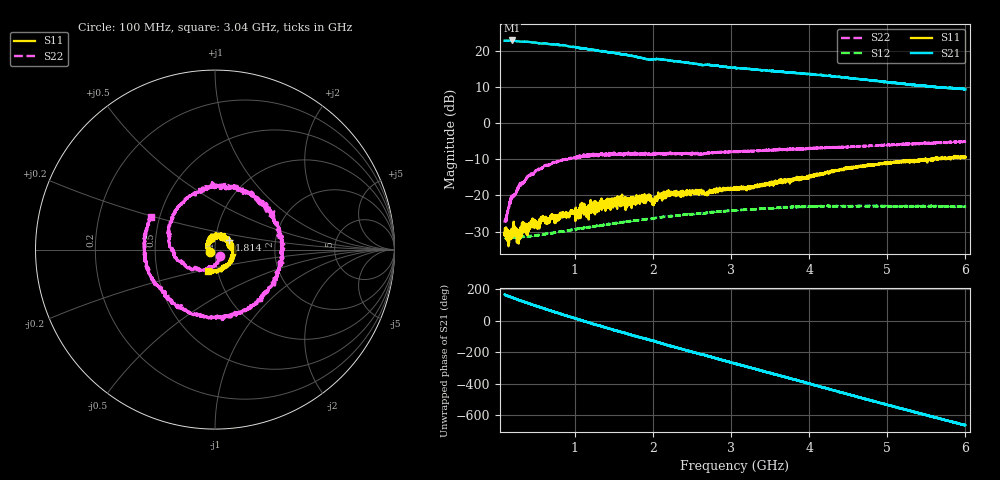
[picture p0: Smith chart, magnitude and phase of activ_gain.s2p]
#  HZ  S  DB  R  50.0
! Rohde & Schwarz ZVL6 2Ports - Version 3.32 - 1303.6509k06 SN: 102097
! Date: 2024-06-28 18:57:20
! Data & Calibration Information:
! Trc1:S11(TOSM) Trc3:S21(TOSM) Trc2:S12(TOSM) Trc4:S22(TOSM)
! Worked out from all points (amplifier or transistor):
!   4001 points, 100 MHz to 6 GHz, reference 50 ohm
!   highest |S21| = 22.8 dB at 191.4 MHz (marker M1)
!   |S21| within 3 dB of that: start of sweep to 1.342 GHz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
!   unconditionally stable (mu >= 1): start of sweep to end of sweep
!   at 1.082 GHz: K = 1.34, MAG = 21.4 dB, |S12| = -29.1 dB
!   at 3.05 GHz: K = 1.34, MAG = 16.2 dB, |S12| = -24.2 dB
!   at 6 GHz: K = 1.77, MAG = 11.1 dB, |S12| = -23.2 dB
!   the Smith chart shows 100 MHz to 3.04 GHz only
!   S11 on the Smith chart (normalised r, x): 100 MHz: 0.95, -0.03; 1.814 GHz: 1.17, +0.12; 3.04 GHz: 0.90, -0.22
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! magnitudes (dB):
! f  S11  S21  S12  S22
! 100 MHz  -30.5  22.7  -31.7  -27.5
! 154.6 MHz  -31.7  22.8  -31.7  -22.9
! 191.4 MHz  -29.7  22.8  -31.7  -20.1
! 216.5 MHz  -29.6  22.7  -31.7  -20.0
! 281.4 MHz  -30.7  22.6  -31.6  -17.4
! 346.3 MHz  -28.5  22.4  -31.5  -16.4
! 459.9 MHz  -28.8  22.3  -31.1  -14.1
! 516 MHz  -28.9  22.2  -31.0  -13.0
! 591.2 MHz  -26.4  22.0  -30.8  -12.2
! 771.1 MHz  -26.3  21.6  -30.1  -10.7
! 965.8 MHz  -24.1  21.0  -29.5  -9.6
! 1.026 GHz  -25.4  20.9  -29.4  -9.6
! 1.084 GHz  -22.5  20.6  -29.1  -9.4
! 1.814 GHz  -20.4  18.1  -26.8  -8.7
! 1.938 GHz  -20.1  17.6  -26.6  -8.6
! 2.001 GHz  -22.1  17.5  -26.4  -8.6
! 2.068 GHz  -19.2  17.7  -26.1  -8.5
! 3.04 GHz  -18.0  15.3  -24.2  -7.9
! 3.05 GHz  -18.3  15.3  -24.2  -7.9
! 4.034 GHz  -14.4  13.5  -23.1  -7.0
! 5.018 GHz  -11.1  11.2  -22.9  -6.0
! 6 GHz  -9.4  9.3  -23.2  -5.2
